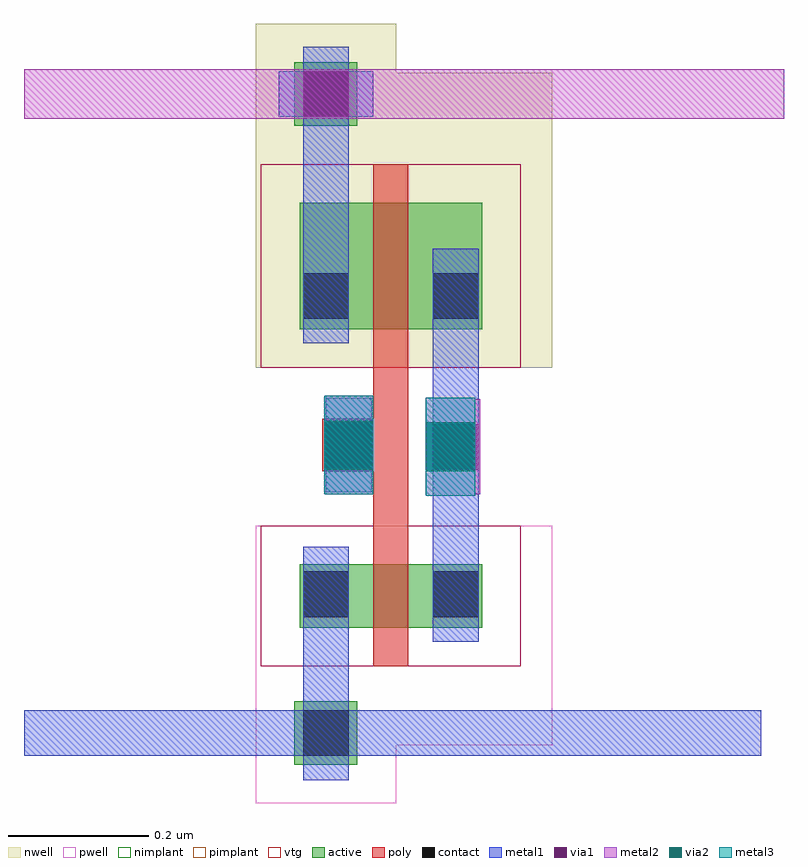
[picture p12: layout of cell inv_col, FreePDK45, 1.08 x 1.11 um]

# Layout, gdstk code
import gdstk
lib = gdstk.Library(unit=1e-6, precision=5e-10)
def R(c, l, rs):  # rectangles x0, y0, x1, y1
    for r in rs: c.add(gdstk.rectangle(r[:2], r[2:], *l))
active = (1, 0)
pwell = (2, 0)
nwell = (3, 0)
nimplant = (4, 0)
pimplant = (5, 0)
vtg = (6, 0)
poly = (9, 0)
contact = (10, 0)
metal1 = (11, 0)
via1 = (12, 0)
metal2 = (13, 0)
via2 = (14, 0)
metal3 = (15, 0)

m3_m2_viab = lib.new_cell('M3_M2_viaB')
R(m3_m2_viab, metal2, [(-0.035,-0.07,0.035,0.07)])
R(m3_m2_viab, via2, [(-0.035,-0.035,0.035,0.035)])
R(m3_m2_viab, metal3, [(-0.035,-0.07,0.035,0.07)])

pcont_2 = lib.new_cell('pcont_2')
R(pcont_2, poly, [(-0.0375,-0.0375,0.0375,0.0375)])
R(pcont_2, contact, [(-0.0325,-0.0325,0.0325,0.0325)])
R(pcont_2, metal1, [(-0.0325,-0.0675,0.0325,0.0675)])

m2_m1_viab = lib.new_cell('M2_M1_viaB')
R(m2_m1_viab, metal1, [(-0.0675,-0.0325,0.0675,0.0325)])
R(m2_m1_viab, via1, [(-0.0325,-0.0325,0.0325,0.0325)])
R(m2_m1_viab, metal2, [(-0.0675,-0.035,0.0675,0.035)])

m2_m1_viac = lib.new_cell('M2_M1_viaC')
R(m2_m1_viac, metal1, [(-0.0325,-0.0675,0.0325,0.0675)])
R(m2_m1_viac, via1, [(-0.0325,-0.0325,0.0325,0.0325)])
R(m2_m1_viac, metal2, [(-0.035,-0.0675,0.035,0.0675)])

dcont_25 = lib.new_cell('dcont_25')
R(dcont_25, active, [(-0.0375,0.03,0.0375,0.105)])
R(dcont_25, contact, [(-0.0325,0.035,0.0325,0.1)])
R(dcont_25, metal1, [(-0.0325,0,0.0325,0.135)])

pmos_vtg_4 = lib.new_cell('pmos_vtg_4')
R(pmos_vtg_4, active, [(-0.105,0,0.155,0.18), (-0.105,0,-0.03,0.18), (0.08,0,0.155,0.18), (-0.105,0.01,-0.03,0.085), (0.08,0.01,0.155,0.085)])
R(pmos_vtg_4, nwell, [(-0.16,-0.055,0.21,0.235)])
R(pmos_vtg_4, pimplant, [(-0.105,0,0.155,0.18)])
R(pmos_vtg_4, vtg, [(-0.16,-0.055,0.21,0.235)])
R(pmos_vtg_4, poly, [(0,-0.055,0.05,0), (0,-0.055,0.05,0.235), (0,0.18,0.05,0.235)])
pmos_vtg_4.add(gdstk.Reference(dcont_25, (0.1175,-0.02)))
pmos_vtg_4.add(gdstk.Reference(dcont_25, (-0.0675,-0.02)))
pmos_vtg_4.add(gdstk.Label('l = 0.05', (0.06,0.09), layer=239, texttype=0))
pmos_vtg_4.add(gdstk.Label('w = 0.18', (0.025,0.245), layer=239, texttype=0))

nmos_vtg_5 = lib.new_cell('nmos_vtg_5')
R(nmos_vtg_5, active, [(-0.105,0,0.155,0.09), (-0.105,0,-0.03,0.09), (0.08,0,0.155,0.09), (-0.105,0.01,-0.03,0.085), (0.08,0.01,0.155,0.085)])
R(nmos_vtg_5, pwell, [(-0.16,-0.055,0.21,0.145)])
R(nmos_vtg_5, nimplant, [(-0.105,0,0.155,0.09)])
R(nmos_vtg_5, vtg, [(-0.16,-0.055,0.21,0.145)])
R(nmos_vtg_5, poly, [(0,-0.055,0.05,0), (0,-0.055,0.05,0.145), (0,0.09,0.05,0.145)])
nmos_vtg_5.add(gdstk.Reference(dcont_25, (0.1175,-0.02)))
nmos_vtg_5.add(gdstk.Reference(dcont_25, (-0.0675,-0.02)))
nmos_vtg_5.add(gdstk.Label('l = 0.05', (0.06,0.045), layer=239, texttype=0))
nmos_vtg_5.add(gdstk.Label('w = 0.09', (0.025,0.155), layer=239, texttype=0))

ntap_1 = lib.new_cell('NTAP_1')
R(ntap_1, active, [(-0.045,-0.045,0.045,0.045)])
R(ntap_1, nwell, [(-0.1,-0.1,0.1,0.1)])
R(ntap_1, nimplant, [(-0.045,-0.045,0.045,0.045)])
R(ntap_1, contact, [(-0.0325,-0.0325,0.0325,0.0325)])
R(ntap_1, metal1, [(-0.0325,-0.0675,0.0325,0.0675)])

ptap_0 = lib.new_cell('PTAP_0')
R(ptap_0, active, [(-0.045,-0.045,0.045,0.045)])
R(ptap_0, pwell, [(-0.1,-0.1,0.1,0.1)])
R(ptap_0, pimplant, [(-0.045,-0.045,0.045,0.045)])
R(ptap_0, contact, [(-0.0325,-0.0325,0.0325,0.0325)])
R(ptap_0, metal1, [(-0.0325,-0.0675,0.0325,0.0675)])

inv_col = lib.new_cell('inv_col')
R(inv_col, pwell, [(-0.005,0.0275,0.4175,0.34)])
R(inv_col, nwell, [(-0.005,0.565,0.4175,0.985)])
R(inv_col, poly, [(0.1625,0.34,0.2125,0.5675), (0.09,0.42,0.1625,0.49)])
R(inv_col, metal1, [(-0.335,0.0125,0.715,0.0775), (0.0625,0.05,0.1275,0.185), (0.2475,0.305,0.3125,0.6125), (0.0625,0.7225,0.1275,0.9475)])
R(inv_col, metal2, [(-0.335,0.92,0.7475,0.99)])
inv_col.add(gdstk.Reference(m3_m2_viab, (0.2725,0.4525)))
inv_col.add(gdstk.Reference(m3_m2_viab, (0.1275,0.455)))
inv_col.add(gdstk.Reference(pcont_2, (0.1275,0.455)))
inv_col.add(gdstk.Reference(m2_m1_viab, (0.095,0.955)))
inv_col.add(gdstk.Reference(m2_m1_viac, (0.1275,0.455)))
inv_col.add(gdstk.Reference(m2_m1_viac, (0.28,0.4525)))
inv_col.add(gdstk.Reference(pmos_vtg_4, (0.1625,0.62)))
inv_col.add(gdstk.Reference(nmos_vtg_5, (0.1625,0.195)))
inv_col.add(gdstk.Reference(ntap_1, (0.095,0.955)))
inv_col.add(gdstk.Reference(ptap_0, (0.095,0.045)))

lib.write_gds('inv_col.gds')
